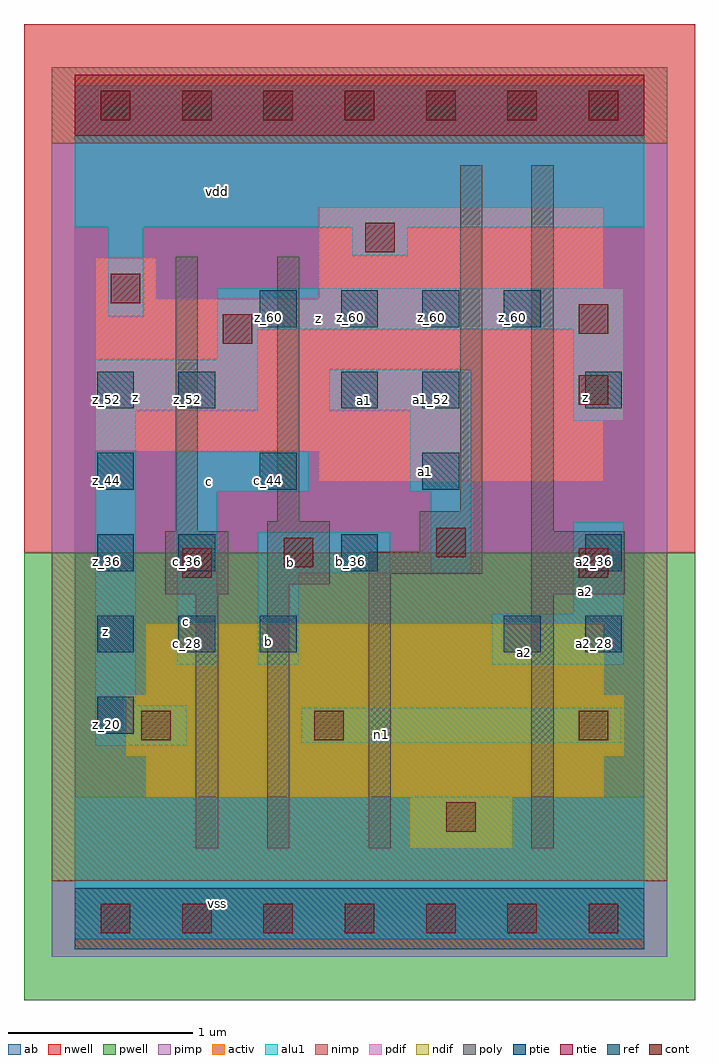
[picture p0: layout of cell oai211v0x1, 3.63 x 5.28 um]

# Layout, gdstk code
import gdstk
lib = gdstk.Library(unit=1e-6, precision=2.5e-09)
def R(c, l, rs):  # rectangles x0, y0, x1, y1
    for r in rs: c.add(gdstk.rectangle(r[:2], r[2:], *l))
def A(c, l, x, y, w, h, nx, ny, dx, dy):  # array of equal rectangles
    R(c, l, [(x+i*dx, y+j*dy, x+i*dx+w, y+j*dy+h) for i in range(nx) for j in range(ny)])
ndif = (3, 0)
pdif = (4, 0)
ntie = (5, 0)
ptie = (6, 0)
ref = (24, 0)
cont = (25, 0)
pwell = (41, 0)
nwell = (42, 0)
activ = (43, 0)
pimp = (44, 0)
nimp = (45, 0)
poly = (46, 0)
alu1 = (49, 0)
ab = (63, 0)

oai211v0x1 = lib.new_cell('oai211v0x1')
R(oai211v0x1, ndif, [(1.815,0.385,2.365,0.66), (0.385,0.66,2.86,0.88), (0.275,0.88,2.97,1.21), (0.385,1.21,2.86,1.595)])
R(oai211v0x1, pdif, [(1.32,2.365,2.86,2.53), (0.11,2.53,2.86,2.695), (0.11,2.695,2.97,3.355), (0.11,3.355,0.44,3.575), (1.32,3.355,2.97,3.41), (1.32,3.41,2.86,3.85)])
R(oai211v0x1, ntie, [(0,4.235,3.08,4.565)])
R(oai211v0x1, ptie, [(0,-0.165,3.08,0.165)])
A(oai211v0x1, ref, 0.12, 1, 0.2, 0.2, 1, 3, 0, 0.88)
A(oai211v0x1, ref, 0.12, 1.44, 0.2, 0.2, 3, 1, 0.44, 0)
A(oai211v0x1, ref, 0.12, 2.32, 0.2, 0.2, 3, 1, 0.88, 0)
A(oai211v0x1, ref, 1, 3.2, 0.2, 0.2, 4, 1, 0.44, 0)
R(oai211v0x1, ref, [(2.32,1.44,2.52,1.64), (2.76,1.44,2.96,1.64), (0.56,1.88,0.76,2.08), (1.44,1.88,1.64,2.08), (2.76,1.88,2.96,2.08), (0.56,2.76,0.76,2.96), (1.44,2.76,1.64,2.96), (1.88,2.76,2.08,2.96), (2.76,2.76,2.96,2.96)])
A(oai211v0x1, cont, 0.14, -0.08, 0.16, 0.16, 7, 2, 0.44, 4.4)
R(oai211v0x1, cont, [(2.01,0.47,2.17,0.63), (0.36,0.965,0.52,1.125), (1.295,0.965,1.455,1.125), (2.725,0.965,2.885,1.125), (0.58,1.845,0.74,2.005), (2.725,1.845,2.885,2.005), (1.13,1.9,1.29,2.06), (1.955,1.955,2.115,2.115), (2.725,2.78,2.885,2.94), (0.8,3.11,0.96,3.27), (2.725,3.165,2.885,3.325), (0.195,3.33,0.355,3.49), (1.57,3.605,1.73,3.765)])
R(oai211v0x1, pwell, [(-0.275,-0.44,3.355,1.98)])
R(oai211v0x1, nwell, [(-0.275,1.98,3.355,4.84)])
R(oai211v0x1, activ, [(0,-0.165,3.08,0.165), (1.815,0.385,2.365,0.66), (0.385,0.66,2.86,0.88), (0.275,0.88,2.97,1.21), (0.385,1.21,2.86,1.595), (1.32,2.365,2.86,2.53), (0.11,2.53,2.86,2.695), (0.11,2.695,2.97,3.355), (0.11,3.355,0.44,3.575), (1.32,3.355,2.97,3.41), (1.32,3.41,2.86,3.85), (0,4.235,3.08,4.565)])
R(oai211v0x1, pimp, [(-0.125,-0.205,3.205,0.205), (-0.125,1.98,3.205,4.195)])
R(oai211v0x1, nimp, [(-0.125,0.205,3.205,1.98), (-0.125,4.195,3.205,4.605)])
R(oai211v0x1, poly, [(0.655,0.38,0.775,1.755), (1.04,0.38,1.16,1.81), (1.59,0.38,1.71,1.865), (2.47,0.38,2.59,1.755), (0.49,1.755,0.83,2.095), (2.47,1.755,2.975,2.095), (1.04,1.81,1.38,2.15), (1.59,1.865,2.205,1.985), (1.865,1.985,2.205,2.205), (0.545,2.095,0.665,3.58), (2.47,2.095,2.59,4.075), (1.095,2.15,1.215,3.58), (2.085,2.205,2.205,4.075)])
R(oai211v0x1, alu1, [(0,-0.11,3.08,0.66), (0.11,0.935,0.605,1.155), (1.225,0.95,2.955,1.14), (0.11,1.155,0.33,2.75), (0.55,1.375,0.77,2.31), (0.99,1.375,1.21,1.87), (2.255,1.375,2.97,1.65), (2.695,1.65,2.97,2.145), (0.99,1.87,1.705,2.09), (1.925,1.87,2.145,2.31), (0.55,2.31,1.265,2.53), (1.815,2.31,2.145,2.75), (2.695,2.695,2.97,3.19), (0.11,2.75,0.99,3.025), (1.375,2.75,2.145,2.97), (0.77,3.025,0.99,3.19), (0.77,3.19,2.97,3.41), (0.18,3.26,0.37,3.74), (1.5,3.59,1.8,3.74), (0,3.74,3.08,4.51)])
R(oai211v0x1, ab, [(0,0,3.08,4.4)])
oai211v0x1.add(gdstk.Label('vss', (0.77,0.0825), layer=49, texttype=0))
oai211v0x1.add(gdstk.Label('n1', (1.6575,0.9975), layer=49, texttype=0))
oai211v0x1.add(gdstk.Label('a2', (2.4325,1.4425), layer=49, texttype=0))
oai211v0x1.add(gdstk.Label('a2', (2.7625,1.7725), layer=49, texttype=0))
oai211v0x1.add(gdstk.Label('b', (1.045,1.4975), layer=49, texttype=0))
oai211v0x1.add(gdstk.Label('b', (1.1675,1.925), layer=49, texttype=0))
oai211v0x1.add(gdstk.Label('c', (0.605,1.6075), layer=49, texttype=0))
oai211v0x1.add(gdstk.Label('z', (2.7625,2.8175), layer=49, texttype=0))
oai211v0x1.add(gdstk.Label('a1', (1.8975,2.42), layer=49, texttype=0))
oai211v0x1.add(gdstk.Label('c', (0.7275,2.365), layer=49, texttype=0))
oai211v0x1.add(gdstk.Label('z', (0.165,1.5525), layer=49, texttype=0))
oai211v0x1.add(gdstk.Label('a1', (1.5675,2.805), layer=49, texttype=0))
oai211v0x1.add(gdstk.Label('z', (0.33,2.8175), layer=49, texttype=0))
oai211v0x1.add(gdstk.Label('z', (1.32,3.245), layer=49, texttype=0))
oai211v0x1.add(gdstk.Label('vdd', (0.77,3.9325), layer=49, texttype=0))
oai211v0x1.add(gdstk.Label('c_28', (0.61,1.49), layer=24, texttype=0))
oai211v0x1.add(gdstk.Label('c_36', (0.61,1.93), layer=24, texttype=0))
oai211v0x1.add(gdstk.Label('z_52', (0.61,2.81), layer=24, texttype=0))
oai211v0x1.add(gdstk.Label('b_28', (1.05,1.49), layer=24, texttype=0))
oai211v0x1.add(gdstk.Label('c_44', (1.05,2.37), layer=24, texttype=0))
oai211v0x1.add(gdstk.Label('z_60', (1.05,3.25), layer=24, texttype=0))
oai211v0x1.add(gdstk.Label('b_36', (1.49,1.93), layer=24, texttype=0))
oai211v0x1.add(gdstk.Label('a1_52', (1.49,2.81), layer=24, texttype=0))
oai211v0x1.add(gdstk.Label('z_60', (1.49,3.25), layer=24, texttype=0))
oai211v0x1.add(gdstk.Label('a1_44', (1.93,2.37), layer=24, texttype=0))
oai211v0x1.add(gdstk.Label('a1_52', (1.93,2.81), layer=24, texttype=0))
oai211v0x1.add(gdstk.Label('z_60', (1.93,3.25), layer=24, texttype=0))
oai211v0x1.add(gdstk.Label('z_20', (0.17,1.05), layer=24, texttype=0))
oai211v0x1.add(gdstk.Label('z_28', (0.17,1.49), layer=24, texttype=0))
oai211v0x1.add(gdstk.Label('z_36', (0.17,1.93), layer=24, texttype=0))
oai211v0x1.add(gdstk.Label('z_44', (0.17,2.37), layer=24, texttype=0))
oai211v0x1.add(gdstk.Label('z_52', (0.17,2.81), layer=24, texttype=0))
oai211v0x1.add(gdstk.Label('a2_28', (2.37,1.49), layer=24, texttype=0))
oai211v0x1.add(gdstk.Label('z_60', (2.37,3.25), layer=24, texttype=0))
oai211v0x1.add(gdstk.Label('a2_28', (2.81,1.49), layer=24, texttype=0))
oai211v0x1.add(gdstk.Label('a2_36', (2.81,1.93), layer=24, texttype=0))
oai211v0x1.add(gdstk.Label('z_52', (2.81,2.81), layer=24, texttype=0))

lib.write_gds('oai211v0x1.gds')
